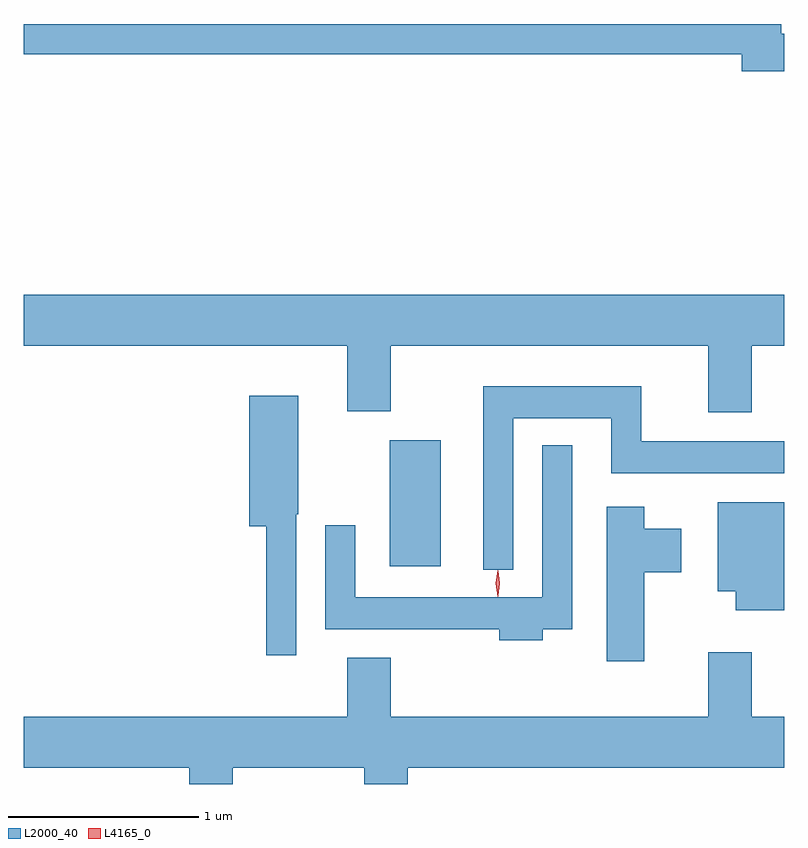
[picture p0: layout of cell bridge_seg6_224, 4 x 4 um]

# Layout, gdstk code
import gdstk
lib = gdstk.Library(unit=1e-6, precision=1e-09)
def R(c, l, rs):  # rectangles x0, y0, x1, y1
    for r in rs: c.add(gdstk.rectangle(r[:2], r[2:], *l))
def P(c, l, *ps):  # polygons
    for p in ps: c.add(gdstk.Polygon(p, *l))
L2000_40 = (2000, 40)
L4165_0 = (4165, 0)

bridge_seg6_224 = lib.new_cell('bridge_seg6_224')
R(bridge_seg6_224, L2000_40, [(1138.416,1548.876,1138.684,1549.539)])
P(bridge_seg6_224, L2000_40, [(1140.49,1551.679),(1140.474,1551.679),(1140.474,1551.729),(1136.49,1551.729),(1136.49,1551.571),(1140.266,1551.571),(1140.266,1551.481),(1140.49,1551.481)],
  [(1140.319,1550.036),(1140.49,1550.036),(1140.49,1550.304),(1136.49,1550.304),(1136.49,1550.036),(1138.191,1550.036),(1138.191,1549.691),(1138.419,1549.691),(1138.419,1550.036),(1140.091,1550.036),(1140.091,1549.686),(1140.319,1549.686)],
  [(1139.064,1549.656),(1139.581,1549.656),(1139.581,1549.366),(1140.49,1549.366),(1140.49,1549.534),(1139.739,1549.534),(1139.739,1549.824),(1138.906,1549.824),(1138.906,1548.858),(1139.064,1548.858)],
  [(1137.924,1549.15),(1137.934,1549.15),(1137.934,1549.774),(1137.676,1549.774),(1137.676,1549.086),(1137.766,1549.086),(1137.766,1548.408),(1137.924,1548.408)],
  [(1139.219,1548.546),(1139.374,1548.546),(1139.374,1549.513),(1139.216,1549.513),(1139.216,1548.714),(1138.234,1548.714),(1138.234,1549.093),(1138.076,1549.093),(1138.076,1548.546),(1138.991,1548.546),(1138.991,1548.486),(1139.219,1548.486)],
  [(1140.49,1549.214),(1140.141,1549.214),(1140.141,1548.746),(1140.236,1548.746),(1140.236,1548.646),(1140.49,1548.646)],
  [(1139.754,1548.846),(1139.949,1548.846),(1139.949,1549.074),(1139.754,1549.074),(1139.754,1549.189),(1139.556,1549.189),(1139.556,1548.376),(1139.754,1548.376)],
  [(1140.091,1548.424),(1140.091,1548.084),(1138.419,1548.084),(1138.419,1548.394),(1138.191,1548.394),(1138.191,1548.084),(1136.49,1548.084),(1136.49,1547.816),(1137.361,1547.816),(1137.361,1547.731),(1137.589,1547.731),(1137.589,1547.816),(1138.281,1547.816),(1138.281,1547.731),(1138.509,1547.731),(1138.509,1547.816),(1140.49,1547.816),(1140.49,1548.084),(1140.319,1548.084),(1140.319,1548.424)])
P(bridge_seg6_224, L4165_0, [(1138.985,1548.719),(1138.984,1548.72),(1138.975,1548.786),(1138.984,1548.852),(1138.985,1548.853),(1138.985,1548.852),(1138.995,1548.786),(1138.985,1548.72)],
  [(1138.982,1548.717),(1138.982,1548.717),(1138.972,1548.787),(1138.982,1548.856),(1138.982,1548.856),(1138.983,1548.856),(1138.992,1548.787),(1138.983,1548.717)])

lib.write_gds('bridge_seg6_224.gds')
